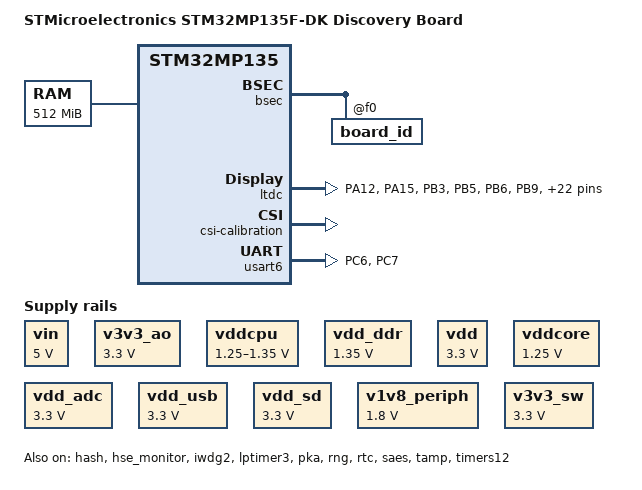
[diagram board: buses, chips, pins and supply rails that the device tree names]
// SPDX-License-Identifier: (GPL-2.0+ OR BSD-3-Clause)
/*
 * Copyright (C) STMicroelectronics 2021 - All Rights Reserved
 * Author: Alexandre Torgue <alexandre.torgue@foss.st.com> for STMicroelectronics.
 */

/dts-v1/;

#include <dt-bindings/clock/stm32mp13-clksrc.h>
#include <dt-bindings/gpio/gpio.h>
#include <dt-bindings/gpio/stm32mp_gpio.h>
#include <dt-bindings/power/stm32mp1-power.h>
#include <dt-bindings/rtc/rtc-stm32.h>
#include <dt-bindings/soc/stm32mp-tzc400-macro.h>
#include <dt-bindings/soc/stm32mp13-etzpc.h>
#include <dt-bindings/soc/stm32mp13-tzc400.h>
#include "stm32mp135.dtsi"
#include "stm32mp13xf.dtsi"
#include "stm32mp13-pinctrl.dtsi"

/ {
	model = "STMicroelectronics STM32MP135F-DK Discovery Board";
	compatible = "st,stm32mp135f-dk", "st,stm32mp135";

	aliases {
		serial0 = &usart6;
		serial1 = &usart1;
	};

	chosen {
		stdout-path = "serial0:115200n8";
	};

	memory@c0000000 {
		device_type = "memory";
		reg = <0xc0000000 0x20000000>;
	};

        reserved-memory {
                #address-cells = <1>;
                #size-cells = <1>;
                ranges;

                optee_framebuffer: optee-framebuffer@dd000000 {
                        /* Secure framebuffer memory */
                        reg = <0xdd000000 0x1000000>;
                        st,protreg = <TZC_REGION_S_RDWR 0>;
                };
        };

	vin: vin {
		compatible = "regulator-fixed";
		regulator-name = "vin";
		regulator-min-microvolt = <5000000>;
		regulator-max-microvolt = <5000000>;
		regulator-always-on;
	};

	v3v3_ao: v3v3_ao {
		compatible = "regulator-fixed";
		regulator-name = "v3v3_ao";
		regulator-min-microvolt = <3300000>;
		regulator-max-microvolt = <3300000>;
		regulator-always-on;
	};


	vddcpu: buck1 {
		compatible = "regulator-fixed";
		regulator-name = "vddcpu";
		regulator-min-microvolt = <1250000>;
		regulator-max-microvolt = <1350000>;
		regulator-always-on;
		// regulator-over-current-protection;

		lp-stop {
			regulator-suspend-microvolt = <1250000>;
		};
		lplv-stop {
			regulator-suspend-microvolt = <900000>;
		};
		lplv-stop2 {
			regulator-off-in-suspend;
		};
		standby-ddr-sr {
			regulator-off-in-suspend;
		};
		standby-ddr-off {
			regulator-off-in-suspend;
		};
	};


	vdd_ddr: buck2 {
		compatible = "regulator-fixed";
		regulator-name = "vdd_ddr";
		regulator-min-microvolt = <1350000>;
		regulator-max-microvolt = <1350000>;
		regulator-off-in-suspend;
		regulator-always-on;
	};


	vdd: buck3 {
		compatible = "regulator-fixed";
		regulator-name = "vdd";
		regulator-min-microvolt = <3300000>;
		regulator-max-microvolt = <3300000>;
		regulator-off-in-suspend;
		regulator-always-on;
	};


	vddcore: buck4 {
		compatible = "regulator-fixed";
		regulator-name = "vddcore";
		regulator-min-microvolt = <1250000>;
		regulator-max-microvolt = <1250000>;
		regulator-off-in-suspend;
		regulator-always-on;
	};


	vdd_adc: ldo1 {
		compatible = "regulator-fixed";
		regulator-name = "vdd_adc";
		regulator-min-microvolt = <3300000>;
		regulator-max-microvolt = <3300000>;
		regulator-off-in-suspend;
		regulator-always-on;
	};


	vdd_usb: ldo4 {
		compatible = "regulator-fixed";
		regulator-name = "vdd_usb";
		regulator-min-microvolt = <3300000>;
		regulator-max-microvolt = <3300000>;
		regulator-off-in-suspend;
		regulator-always-on;
	};


	vdd_sd: ldo5 {
		compatible = "regulator-fixed";
		regulator-name = "vdd_sd";
		regulator-min-microvolt = <3300000>;
		regulator-max-microvolt = <3300000>;
		regulator-off-in-suspend;
		regulator-always-on;
		// regulator-boot-on;
	};


	v1v8_periph: ldo6 {
		compatible = "regulator-fixed";
		regulator-name = "v1v8_periph";
		regulator-min-microvolt = <1800000>;
		regulator-max-microvolt = <1800000>;
		regulator-off-in-suspend;
		regulator-always-on;
	};
	

	v3v3_sw: pwr_sw2 {
		compatible = "regulator-fixed";
		regulator-name = "v3v3_sw";
		// regulator-active-discharge = <1>;
		regulator-min-microvolt = <3300000>;
		regulator-max-microvolt = <3300000>;
	};

};


&bsec {
	board_id: board_id@f0 {
		reg = <0xf0 0x4>;
		st,non-secure-otp;
	};
};

&cpu0 {
	cpu-supply = <&vddcpu>;
};

&etzpc {
	st,decprot = <
		DECPROT(STM32MP1_ETZPC_ADC1_ID, DECPROT_NS_RW, DECPROT_UNLOCK)
		DECPROT(STM32MP1_ETZPC_ADC2_ID, DECPROT_NS_RW, DECPROT_UNLOCK)
		DECPROT(STM32MP1_ETZPC_BKPSRAM_ID, DECPROT_S_RW, DECPROT_UNLOCK)
		DECPROT(STM32MP1_ETZPC_CRYP_ID, DECPROT_NS_RW, DECPROT_UNLOCK)
		DECPROT(STM32MP1_ETZPC_DCMIPP_ID, DECPROT_NS_RW, DECPROT_UNLOCK)
		DECPROT(STM32MP1_ETZPC_DDRCTRLPHY_ID, DECPROT_NS_R_S_W, DECPROT_UNLOCK)
		DECPROT(STM32MP1_ETZPC_ETH1_ID, DECPROT_NS_RW, DECPROT_UNLOCK)
		DECPROT(STM32MP1_ETZPC_ETH2_ID, DECPROT_NS_RW, DECPROT_UNLOCK)
		DECPROT(STM32MP1_ETZPC_FMC_ID, DECPROT_NS_RW, DECPROT_UNLOCK)
		DECPROT(STM32MP1_ETZPC_HASH_ID, DECPROT_S_RW, DECPROT_UNLOCK)
		DECPROT(STM32MP1_ETZPC_I2C3_ID, DECPROT_NS_RW, DECPROT_UNLOCK)
		DECPROT(STM32MP1_ETZPC_I2C4_ID, DECPROT_S_RW, DECPROT_UNLOCK)
		DECPROT(STM32MP1_ETZPC_I2C5_ID, DECPROT_NS_RW, DECPROT_UNLOCK)
		DECPROT(STM32MP1_ETZPC_IWDG1_ID, DECPROT_S_RW, DECPROT_UNLOCK)
		DECPROT(STM32MP1_ETZPC_LPTIM2_ID, DECPROT_NS_RW, DECPROT_UNLOCK)
		DECPROT(STM32MP1_ETZPC_LPTIM3_ID, DECPROT_S_RW, DECPROT_UNLOCK)
		DECPROT(STM32MP1_ETZPC_LTDC_ID, DECPROT_NS_RW, DECPROT_UNLOCK)
		DECPROT(STM32MP1_ETZPC_MCE_ID, DECPROT_S_RW, DECPROT_UNLOCK)
		DECPROT(STM32MP1_ETZPC_OTG_ID, DECPROT_NS_RW, DECPROT_UNLOCK)
		DECPROT(STM32MP1_ETZPC_PKA_ID, DECPROT_S_RW, DECPROT_UNLOCK)
		DECPROT(STM32MP1_ETZPC_QSPI_ID, DECPROT_NS_RW, DECPROT_UNLOCK)
		DECPROT(STM32MP1_ETZPC_RNG_ID, DECPROT_S_RW, DECPROT_UNLOCK)
		DECPROT(STM32MP1_ETZPC_SAES_ID, DECPROT_S_RW, DECPROT_UNLOCK)
		DECPROT(STM32MP1_ETZPC_SDMMC1_ID, DECPROT_NS_RW, DECPROT_UNLOCK)
		DECPROT(STM32MP1_ETZPC_SDMMC2_ID, DECPROT_NS_RW, DECPROT_UNLOCK)
		DECPROT(STM32MP1_ETZPC_SPI4_ID, DECPROT_NS_RW, DECPROT_UNLOCK)
		DECPROT(STM32MP1_ETZPC_SPI5_ID, DECPROT_NS_RW, DECPROT_UNLOCK)
		DECPROT(STM32MP1_ETZPC_SRAM1_ID, DECPROT_NS_RW, DECPROT_UNLOCK)
		DECPROT(STM32MP1_ETZPC_SRAM2_ID, DECPROT_NS_RW, DECPROT_UNLOCK)
		DECPROT(STM32MP1_ETZPC_SRAM3_ID, DECPROT_S_RW, DECPROT_UNLOCK)
		DECPROT(STM32MP1_ETZPC_STGENC_ID, DECPROT_S_RW, DECPROT_UNLOCK)
		DECPROT(STM32MP1_ETZPC_TIM12_ID, DECPROT_S_RW, DECPROT_UNLOCK)
		DECPROT(STM32MP1_ETZPC_TIM13_ID, DECPROT_NS_RW, DECPROT_UNLOCK)
		DECPROT(STM32MP1_ETZPC_TIM14_ID, DECPROT_NS_RW, DECPROT_UNLOCK)
		DECPROT(STM32MP1_ETZPC_TIM15_ID, DECPROT_S_RW, DECPROT_UNLOCK)
		DECPROT(STM32MP1_ETZPC_TIM16_ID, DECPROT_NS_RW, DECPROT_UNLOCK)
		DECPROT(STM32MP1_ETZPC_TIM17_ID, DECPROT_NS_RW, DECPROT_UNLOCK)
		DECPROT(STM32MP1_ETZPC_USART1_ID, DECPROT_NS_RW, DECPROT_UNLOCK)
		DECPROT(STM32MP1_ETZPC_USART2_ID, DECPROT_NS_RW, DECPROT_UNLOCK)
		DECPROT(STM32MP1_ETZPC_USBPHYCTRL_ID, DECPROT_NS_RW, DECPROT_UNLOCK)
		DECPROT(STM32MP1_ETZPC_VREFBUF_ID, DECPROT_NS_RW, DECPROT_UNLOCK)
	>;
};

&hash {
	status = "okay";
};

&hse_monitor {
	status = "okay";
};

&iwdg2 {
	timeout-sec = <32>;
	secure-timeout-sec = <5>;
	status = "okay";
};

&lptimer3 {
	status = "okay";

	counter {
		status = "okay";
	};
};

&ltdc {
	pinctrl-names = "default";
	pinctrl-0 = <&ltdc_pins_mx>;
	status = "okay";
};

&oem_enc_key {
	st,non-secure-otp-provisioning;
};

&osc_calibration {
	csi-calibration {
		status = "okay";
	};

	hsi-calibration {
		status = "okay";
	};
};

&pka {
	status = "okay";
};

&pwr_irq {
	reg = <0x50001010 0x01>;
};

&pwr_regulators {
	system_suspend_supported_soc_modes = <
		STM32_PM_CSLEEP_RUN
		STM32_PM_CSTOP_ALLOW_LP_STOP
		STM32_PM_CSTOP_ALLOW_LPLV_STOP
		STM32_PM_CSTOP_ALLOW_LPLV_STOP2
		STM32_PM_CSTOP_ALLOW_STANDBY_DDR_SR
	>;

	system_off_soc_mode = <STM32_PM_SHUTDOWN>;
	vdd-supply = <&vdd>;
	vdd_3v3_usbfs-supply = <&vdd_usb>;
};

&rcc {
	st,clksrc = <
		CLK_MPU_PLL1P
		CLK_AXI_PLL2P
		CLK_MLAHBS_PLL3
		CLK_RTC_LSE
		CLK_MCO1_DISABLED
		CLK_MCO2_DISABLED
		CLK_CKPER_HSE
		CLK_SDMMC1_PLL4P
		CLK_SDMMC2_PLL4P
		CLK_ETH1_PLL4P
		CLK_ETH2_PLL4P
		CLK_STGEN_HSE
		CLK_USBPHY_HSE
		CLK_I2C4_HSI
		CLK_USBO_USBPHY
		CLK_ADC1_CKPER
		CLK_ADC2_CKPER
		CLK_I2C12_HSI
		CLK_UART1_HSI
		CLK_UART2_HSI
		CLK_UART35_HSI
		CLK_UART4_HSI
		CLK_UART6_HSI
		CLK_UART78_HSI
		CLK_SAES_AXI
		CLK_DCMIPP_PLL2Q
		CLK_LPTIM2_PCLK3
		CLK_LPTIM3_PCLK3
		CLK_RNG1_PLL4R
		CLK_SAI1_PLL3Q
	>;

	st,clkdiv = <
		DIV(DIV_MPU, 1)
		DIV(DIV_AXI, 0)
		DIV(DIV_MLAHB, 0)
		DIV(DIV_APB1, 1)
		DIV(DIV_APB2, 1)
		DIV(DIV_APB3, 1)
		DIV(DIV_APB4, 1)
		DIV(DIV_APB5, 2)
		DIV(DIV_APB6, 1)
		DIV(DIV_RTC, 0)
		DIV(DIV_MCO1, 0)
		DIV(DIV_MCO2, 0)
	>;

	st,pll_vco {
		pll1_vco_2000Mhz: pll1-vco-2000Mhz {
			src = < CLK_PLL12_HSE >;
			divmn = < 1 82 >;
			frac = < 0xAAA >;
		};

		pll1_vco_1600Mhz: pll1-vco-1600Mhz {
			src = < CLK_PLL12_HSE >;
			divmn = < 1 65 >;
			frac = < 0x157c >;
		};

		pll1_vco_1980Mhz: pll1-vco-1980Mhz {
			src = < CLK_PLL12_HSE >;
			divmn = < 1 81 >;
			frac = <0x1004>;
		};

		pll1_vco_1300Mhz: pll1-vco-1300Mhz {
			src = < CLK_PLL12_HSE >;
			divmn = < 2 80 >;
			frac = < 0x800 >;
		};

		pll2_vco_1066Mhz: pll2-vco-1066Mhz {
			src = < CLK_PLL12_HSE >;
			divmn = < 2 65 >;
			frac = < 0x1400 >;
		};

		pll3_vco_417_8Mhz: pll3-vco-417_8Mhz {
			src = < CLK_PLL3_HSE >;
			divmn = < 1 33 >;
			frac = < 0x1a04 >;
		};

		pll3_vco_412_776Mhz: pll3-vco-412_776Mhz {
			src = < CLK_PLL3_HSE >;
			divmn = < 2 50 >;
			frac = < 0x131b >;
		};

		pll4_vco_600Mhz: pll4-vco-600Mhz {
			src = < CLK_PLL4_HSE >;
			divmn = < 1 49 >;
		};

		pll4_vco_500Mhz: pll4-vco-500Mhz {
			src = < CLK_PLL4_HSE >;
			divmn = < 5 124 >;
		};

		pll4_vco_594Mhz: pll4-vco-594Mhz {
			src = < CLK_PLL4_HSE >;
			divmn = < 3 98 >;
			frac = < 0 >;
		};
	};

	// /* VCO = 1300.0 MHz => P = 650 (CPU) */
	pll1:st,pll@0 {
		compatible = "st,stm32mp1-pll";
		reg = <0>;

		st,pll = <&pll1_cfg4>;
		// st,pll = <&pll1_cfg1>;

		/*P = 650 (CPU)*/
		pll1_cfg1: pll1_cfg1 {
			st,pll_vco = < &pll1_vco_1300Mhz >;
			st,pll_div_pqr = < 0 1 1 >;
		};
		/*P = 1000 (CPU)*/
		pll1_cfg2: pll1_cfg2 {
			st,pll_vco = < &pll1_vco_2000Mhz >;
			st,pll_div_pqr = < 0 1 1 >;
		};
		/*P = 800 (CPU)*/
		pll1_cfg3: pll1_cfg3 {
			st,pll_vco = < &pll1_vco_1600Mhz >;
			st,pll_div_pqr = < 0 1 1 >;
		};
		/*P = 990 (CPU)*/
		pll1_cfg4: pll1_cfg4 {
			st,pll_vco = < &pll1_vco_1980Mhz >;
			st,pll_div_pqr = < 0 1 1 >;
		};
		/*P = 325 (CPU)*/
		pll1_cfg5: pll1_cfg5 {
			st,pll_vco = < &pll1_vco_1300Mhz >;
			st,pll_div_pqr = < 1 1 1 >;
		};
	};

	/* VCO = 1066.0 MHz => P = 266 (AXI), Q = 266, R = 533 (DDR) */
	pll2:st,pll@1 {
		compatible = "st,stm32mp1-pll";
		reg = <1>;

		st,pll = < &pll2_cfg1 >;

		pll2_cfg1: pll2_cfg1 {
			st,pll_vco = < &pll2_vco_1066Mhz >;
			st,pll_div_pqr = < 1 1 0 >;
		};
	};

	
	pll3:st,pll@2 {
		compatible = "st,stm32mp1-pll";
		reg = <2>;

		// st,pll = < &pll3_cfg1 >;
		st,pll = < &pll3_cfg2 >;

		/* VCO = 417.8 MHz => P = 209, Q = 24, R = 11 */
		pll3_cfg1: pll3_cfg1 {
			st,pll_vco = < &pll3_vco_417_8Mhz >;
			st,pll_div_pqr = < 1 16 36 >;
		};

		/* VCO = 412.776 MHz => P = 206.388, Q = 19.656017, R = 11.46601 */
		pll3_cfg2: pll3_cfg2 {
			st,pll_vco = < &pll3_vco_412_776Mhz >;
			st,pll_div_pqr = < 1 20 35 >;
		};
	};

	
	
	pll4:st,pll@3 {
		compatible = "st,stm32mp1-pll";
		reg = <3>;
		st,pll = < &pll4_cfg4 >;

		/* VCO = 600.0 MHz => P = 25, Q = 10, R = 50 */
		pll4_cfg1: pll4_cfg1 {
			st,pll_vco = < &pll4_vco_600Mhz >;
			st,pll_div_pqr = < 23 59 11 >;
		};

		/* VCO = 500.0 MHz => P = 125, Q = 83.33, R = 50 */
		pll4_cfg2: pll4_cfg2 {
			st,pll_vco = < &pll4_vco_500Mhz >;
			st,pll_div_pqr = < 3 5 9 >;
		};

		/* VCO = 500.0 MHz => P = 25, Q = 71.44, R = 50 */
		pll4_cfg3: pll4_cfg3 {
			st,pll_vco = < &pll4_vco_500Mhz >;
			st,pll_div_pqr = < 19 6 9 >;
		};

		/* VCO = 594.0 MHz => P = 118.8, Q = 74.25, R = 59.4 */
		pll4_cfg4: pll4_cfg4 {
			st,pll_vco = < &pll4_vco_594Mhz >;
			st,pll_div_pqr = < 4 7 9 >;
		};
	};

	st,clk_opp {
		/* CK_MPU clock config for MP13 */
		st,ck_mpu {

			cfg_1 {
				hz = < 990000000 >;
				st,clksrc = < CLK_MPU_PLL1P >;
				st,pll = < &pll1_cfg4 >;
			};

			cfg_2 {
				hz = < 650000000 >;
				st,clksrc = < CLK_MPU_PLL1P >;
				st,pll = < &pll1_cfg1 >;
			};

		};
	};
};



&rng {
	status = "okay";
	clock-error-detect;
};

&rtc {
	status = "okay";
};

&saes {
	status = "okay";
};

&scmi_regu {
	scmi_vddcpu: voltd-vddcpu {
		voltd-name = "vddcpu";
		regulator-name = "vddcpu";
	};
	scmi_vdd: voltd-vdd {
		voltd-name = "vdd";
		regulator-name = "vdd";
	};
	scmi_vddcore: voltd-vddcore {
		voltd-name = "vddcore";
		regulator-name = "vddcore";
	};
	scmi_vdd_adc: voltd-vdd_adc {
		voltd-name = "vdd_adc";
		regulator-name = "vdd_adc";
	};
	scmi_vdd_usb: voltd-vdd_usb {
		voltd-name = "vdd_usb";
		regulator-name = "vdd_usb";
	};
	scmi_vdd_sd: voltd-vdd_sd {
		voltd-name = "vdd_sd";
		regulator-name = "vdd_sd";
	};
	scmi_v1v8_periph: voltd-v1v8_periph {
		voltd-name = "v1v8_periph";
		regulator-name = "v1v8_periph";
	};
	scmi_v3v3_sw: voltd-v3v3_sw {
		voltd-name = "v3v3_sw";
		regulator-name = "v3v3_sw";
	};
};

&tamp {
	status = "okay";
	st,tamp_passive_nb_sample = <4>;
	st,tamp_passive_sample_clk_div = <16384>;

	tamp_passive@2 {
		pinctrl-0 = <&tamp0_in2_pin_a>;
		status = "disabled";
	};

	/* Connect pin8 and pin22 from CN3 */
	tamp_active@1 {
		pinctrl-0 = <&tamp0_in3_pin_a &tamp0_out1_pin_a>;
		status = "disabled";
	};
};

&timers12 {
	status = "okay";

	counter {
		reg = <0x4c007000 0x400>;
		status = "okay";
	};
};
&timers15 {
	counter {
		reg = <0x4c00a000 0x400>;
	};
};
&lptimer3 {
	counter {
		reg = <0x50022000 0x400>;
	};
};

&tzc400 {
	memory-region =	<&optee_framebuffer>;
};

&uart4 {
	pinctrl-names = "default";
	pinctrl-0 = <&uart4_pins_a>;
	status = "disabled";
};

&usart6 {
	pinctrl-names = "default";
	pinctrl-0 = <&usart6_pins_mx>;
	rx-tx-swap;
	status = "okay";
};



&usart1 {
	pinctrl-names = "default";
	pinctrl-0 = <&usart1_pins_a>;
	uart-has-rtscts;
	status = "disabled";
};

&uart8 {
	pinctrl-names = "default";
	pinctrl-0 = <&uart8_pins_a>;
	status = "disabled";
};

&wakeup_pin_1 {
	bias-pull-up;
};

&gpioa {
	#address-cells = <1>;
};
&gpiob {
	#address-cells = <1>;
};
&gpioc {
	#address-cells = <1>;
};
&gpiod {
	#address-cells = <1>;
};
&gpioe {
	#address-cells = <1>;
};
&gpiof {
	#address-cells = <1>;
};
&gpiog {
	#address-cells = <1>;
};
&gpioh {
	#address-cells = <1>;
};
&gpioi {
	#address-cells = <1>;
};
&exti {
	#address-cells = <1>;
};
&intc {
	#address-cells = <1>;
};


&pinctrl {
	usart6_pins_mx: usart6_mx-0 {
		pins1 {
			pinmux = <STM32_PINMUX('C', 6, AF7)>; /* USART6_TX */
			bias-pull-up;
		};
		pins2 {
			pinmux = <STM32_PINMUX('C', 7, AF7)>; /* USART6_RX */
			bias-disable;
			drive-push-pull;
			slew-rate = <0>;
		};
	};

	usart6_sleep_pins_mx: usart6_sleep_mx-0 {
		pins {
			pinmux = <STM32_PINMUX('C', 6, ANALOG)>, /* USART6_TX */
					 <STM32_PINMUX('C', 7, ANALOG)>; /* USART6_RX */
		};
	};


	
	ltdc_pins_mx: ltdc_mx-0 {
		pins1 {
			pinmux = <STM32_PINMUX('A', 12, AF14)>, /* LTDC_G6 */
					 <STM32_PINMUX('A', 15, AF11)>, /* LTDC_G7 */
					 <STM32_PINMUX('B', 3, AF14)>, /* LTDC_B2 */
					 <STM32_PINMUX('B', 5, AF13)>, /* LTDC_B6 */
					 <STM32_PINMUX('B', 6, AF14)>, /* LTDC_B7 */
					 <STM32_PINMUX('B', 9, AF14)>, /* LTDC_B1 */
					 <STM32_PINMUX('B', 12, AF13)>, /* LTDC_R3 */
					 <STM32_PINMUX('B', 14, AF13)>, /* LTDC_R0 */
					 <STM32_PINMUX('D', 4, AF11)>, /* LTDC_R1 */
					 <STM32_PINMUX('D', 5, AF13)>, /* LTDC_B0 */
					 <STM32_PINMUX('D', 9, AF11)>, /* LTDC_B5 */
					 <STM32_PINMUX('D', 10, AF9)>, /* LTDC_G5 */
					 <STM32_PINMUX('D', 13, AF14)>, /* LTDC_G4 */
					 <STM32_PINMUX('E', 1, AF11)>, /* LTDC_R4 */
					 <STM32_PINMUX('E', 7, AF14)>, /* LTDC_R5 */
					 <STM32_PINMUX('E', 12, AF9)>, /* LTDC_VSYNC */
					 <STM32_PINMUX('F', 0, AF13)>, /* LTDC_R6 */
					 <STM32_PINMUX('F', 3, AF14)>, /* LTDC_G3 */
					 <STM32_PINMUX('F', 5, AF9)>, /* LTDC_G0 */
					 <STM32_PINMUX('G', 6, AF14)>, /* LTDC_R7 */
					 <STM32_PINMUX('G', 7, AF14)>, /* LTDC_R2 */
					 <STM32_PINMUX('G', 15, AF14)>, /* LTDC_B3 */
					 <STM32_PINMUX('H', 2, AF7)>, /* LTDC_G1 */
					 <STM32_PINMUX('H', 9, AF11)>, /* LTDC_DE */
					 <STM32_PINMUX('H', 10, AF13)>, /* LTDC_HSYNC */
					 <STM32_PINMUX('H', 13, AF14)>, /* LTDC_G2 */
					 <STM32_PINMUX('H', 14, AF11)>; /* LTDC_B4 */
			bias-disable;
			drive-push-pull;
			slew-rate = <0>;
		};
		pins2 {
			pinmux = <STM32_PINMUX('B', 15, AF13)>; /* LTDC_CLK */
			bias-disable;
			drive-push-pull;
			slew-rate = <1>;
		};
	};

	ltdc_sleep_pins_mx: ltdc_sleep_mx-0 {
		pins {
			pinmux = <STM32_PINMUX('A', 12, ANALOG)>, /* LTDC_G6 */
					 <STM32_PINMUX('A', 15, ANALOG)>, /* LTDC_G7 */
					 <STM32_PINMUX('B', 3, ANALOG)>, /* LTDC_B2 */
					 <STM32_PINMUX('B', 5, ANALOG)>, /* LTDC_B6 */
					 <STM32_PINMUX('B', 6, ANALOG)>, /* LTDC_B7 */
					 <STM32_PINMUX('B', 9, ANALOG)>, /* LTDC_B1 */
					 <STM32_PINMUX('B', 12, ANALOG)>, /* LTDC_R3 */
					 <STM32_PINMUX('B', 14, ANALOG)>, /* LTDC_R0 */
					 <STM32_PINMUX('B', 15, ANALOG)>, /* LTDC_CLK */
					 <STM32_PINMUX('D', 4, ANALOG)>, /* LTDC_R1 */
					 <STM32_PINMUX('D', 5, ANALOG)>, /* LTDC_B0 */
					 <STM32_PINMUX('D', 9, ANALOG)>, /* LTDC_B5 */
					 <STM32_PINMUX('D', 10, ANALOG)>, /* LTDC_G5 */
					 <STM32_PINMUX('D', 13, ANALOG)>, /* LTDC_G4 */
					 <STM32_PINMUX('E', 1, ANALOG)>, /* LTDC_R4 */
					 <STM32_PINMUX('E', 7, ANALOG)>, /* LTDC_R5 */
					 <STM32_PINMUX('E', 12, ANALOG)>, /* LTDC_VSYNC */
					 <STM32_PINMUX('F', 0, ANALOG)>, /* LTDC_R6 */
					 <STM32_PINMUX('F', 3, ANALOG)>, /* LTDC_G3 */
					 <STM32_PINMUX('F', 5, ANALOG)>, /* LTDC_G0 */
					 <STM32_PINMUX('G', 6, ANALOG)>, /* LTDC_R7 */
					 <STM32_PINMUX('G', 7, ANALOG)>, /* LTDC_R2 */
					 <STM32_PINMUX('G', 15, ANALOG)>, /* LTDC_B3 */
					 <STM32_PINMUX('H', 2, ANALOG)>, /* LTDC_G1 */
					 <STM32_PINMUX('H', 9, ANALOG)>, /* LTDC_DE */
					 <STM32_PINMUX('H', 10, ANALOG)>, /* LTDC_HSYNC */
					 <STM32_PINMUX('H', 13, ANALOG)>, /* LTDC_G2 */
					 <STM32_PINMUX('H', 14, ANALOG)>; /* LTDC_B4 */
		};
	};
};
